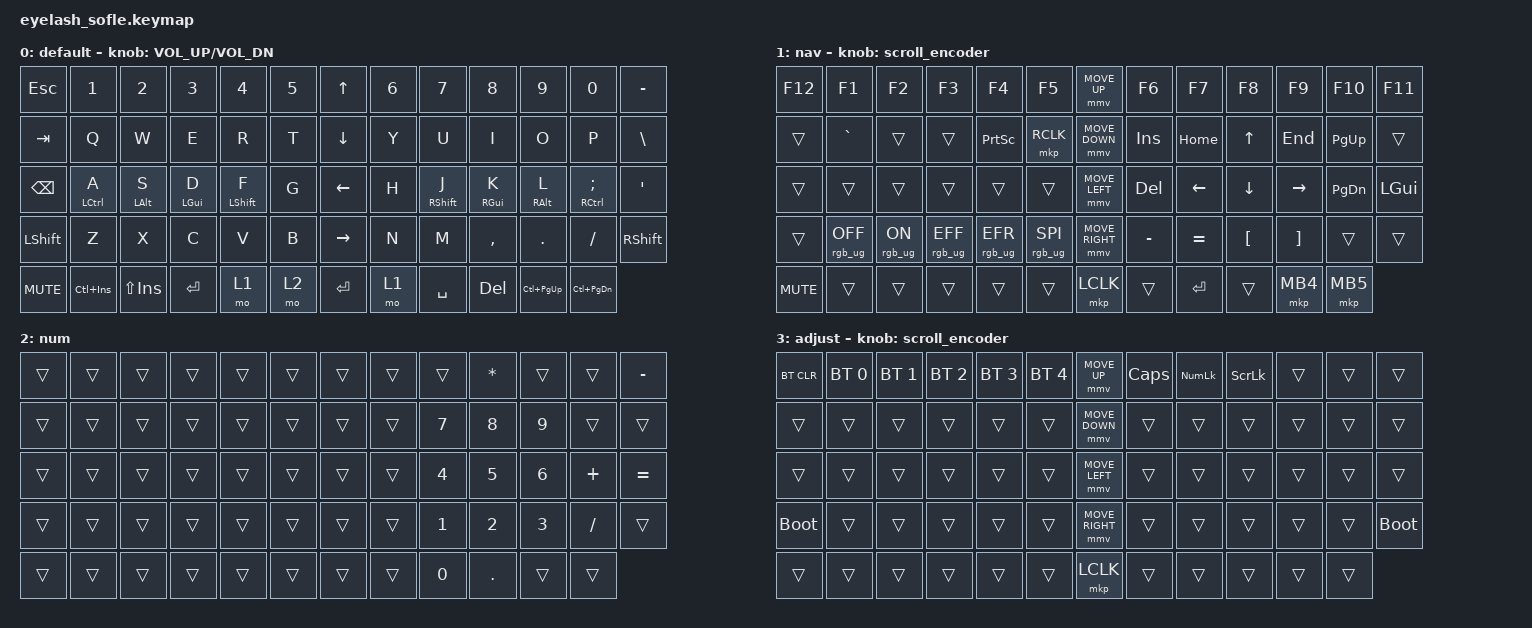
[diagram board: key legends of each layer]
#define ZMK_POINTING_DEFAULT_MOVE_VAL 1200  // 600
#define ZMK_POINTING_DEFAULT_SCRL_VAL 25   // 10

#include <input/processors.dtsi>
#include <zephyr/dt-bindings/input/input-event-codes.h>
#include <behaviors.dtsi>
#include <dt-bindings/zmk/bt.h>
#include <dt-bindings/zmk/keys.h>
#include <dt-bindings/zmk/pointing.h>
#include <dt-bindings/zmk/rgb.h>

&mmv_input_listener { input-processors = <&zip_xy_scaler 2 1>; };

&msc_input_listener { input-processors = <&zip_scroll_scaler 2 1>; };

&msc {
    acceleration-exponent = <1>;      // 0
    time-to-max-speed-ms = <100>;       // 300
    delay-ms = <0>;                   // 0
};

&mmv {
    time-to-max-speed-ms = <500>;
    acceleration-exponent = <1>;
    trigger-period-ms = <16>;
};

/ {
    conditional_layers {
        compatible = "zmk,conditional-layers";

        adjust_layer {
            if-layers = <1 2>;
            then-layer = <3>;
        };
    };

    behaviors {
        tpmt: tpmt {
            compatible = "zmk,behavior-hold-tap";
            label = "TPMT";
            bindings = <&kp>, <&kp>;

            #binding-cells = <2>;
            tapping-term-ms = <200>;
            quick-tap-ms = <125>;
            require-prior-idle-ms = <125>;
            flavor = "tap-preferred";
        };
    };

    scroll_encoder: scroll_encoder {
        compatible = "zmk,behavior-sensor-rotate";
        #sensor-binding-cells = <0>;
        bindings = <&msc SCRL_DOWN>, <&msc SCRL_UP>;

        tap-ms = <100>;
    };

    keymap {
        compatible = "zmk,keymap";

        default {
            bindings = <
&kp ESC        &kp N1          &kp N2            &kp N3        &kp N4          &kp N5    &kp UP_ARROW     &kp N6  &kp N7               &kp N8        &kp N9             &kp N0                         &kp MINUS
&kp TAB        &kp Q           &kp W             &kp E         &kp R           &kp T     &kp DOWN_ARROW   &kp Y   &kp U                &kp I         &kp O              &kp P                          &kp BSLH
&kp BACKSPACE  &tpmt LCTRL A   &tpmt LEFT_ALT S  &tpmt LGUI D  &tpmt LSHIFT F  &kp G     &kp LEFT_ARROW   &kp H   &tpmt RIGHT_SHIFT J  &tpmt RGUI K  &tpmt RIGHT_ALT L  &tpmt RIGHT_CONTROL SEMICOLON  &kp APOS
&kp LSHFT      &kp Z           &kp X             &kp C         &kp V           &kp B     &kp RIGHT_ARROW  &kp N   &kp M                &kp COMMA     &kp DOT            &kp FSLH                       &kp RIGHT_SHIFT
&kp C_MUTE     &kp LC(INSERT)  &kp LS(INSERT)    &kp ENTER     &mo 1           &mo 2     &kp ENTER        &mo 1   &kp SPACE            &kp DELETE    &kp LC(PG_UP)      &kp LC(PG_DN)
            >;

            sensor-bindings = <&inc_dec_kp C_VOLUME_UP C_VOL_DN>;
            display-name = "default";
            label = "default";
        };

        nav {
            bindings = <
&kp F12     &kp F1           &kp F2          &kp F3           &kp F4           &kp F5             &mmv MOVE_UP     &kp F6      &kp F7     &kp F8            &kp F9             &kp F10    &kp F11
&trans      &kp GRAVE        &trans          &trans           &kp PRINTSCREEN  &mkp RCLK          &mmv MOVE_DOWN   &kp INSERT  &kp HOME   &kp UP            &kp END            &kp PG_UP  &trans
&trans      &trans           &trans          &trans           &trans           &trans             &mmv MOVE_LEFT   &kp DELETE  &kp LEFT   &kp DOWN          &kp RIGHT          &kp PG_DN  &kp LGUI
&trans      &rgb_ug RGB_OFF  &rgb_ug RGB_ON  &rgb_ug RGB_EFF  &rgb_ug RGB_EFR  &rgb_ug RGB_SPI    &mmv MOVE_RIGHT  &kp MINUS   &kp EQUAL  &kp LEFT_BRACKET  &kp RIGHT_BRACKET  &trans     &trans
&kp C_MUTE  &trans           &trans          &trans           &trans           &trans             &mkp LCLK        &trans      &kp ENTER  &trans            &mkp MB4           &mkp MB5
            >;

            display-name = "nav";
            sensor-bindings = <&scroll_encoder>;
        };

        num {
            bindings = <
&trans  &trans  &trans  &trans  &trans  &trans    &trans  &trans  &trans  &kp ASTERISK  &trans  &trans     &kp MINUS
&trans  &trans  &trans  &trans  &trans  &trans    &trans  &trans  &kp N7  &kp N8        &kp N9  &trans     &trans
&trans  &trans  &trans  &trans  &trans  &trans    &trans  &trans  &kp N4  &kp N5        &kp N6  &kp PLUS   &kp EQUAL
&trans  &trans  &trans  &trans  &trans  &trans    &trans  &trans  &kp N1  &kp N2        &kp N3  &kp SLASH  &trans
&trans  &trans  &trans  &trans  &trans  &trans    &trans  &trans  &kp N0  &kp DOT       &trans  &trans
            >;

            label = "num";
        };

        adjust {
            bindings = <
&bt BT_CLR   &bt BT_SEL 0  &bt BT_SEL 1  &bt BT_SEL 2  &bt BT_SEL 3  &bt BT_SEL 4    &mmv MOVE_UP     &kp CAPS  &kp KP_NUMLOCK  &kp SCROLLLOCK  &trans  &trans  &trans
&trans       &trans        &trans        &trans        &trans        &trans          &mmv MOVE_DOWN   &trans    &trans          &trans          &trans  &trans  &trans
&trans       &trans        &trans        &trans        &trans        &trans          &mmv MOVE_LEFT   &trans    &trans          &trans          &trans  &trans  &trans
&bootloader  &trans        &trans        &trans        &trans        &trans          &mmv MOVE_RIGHT  &trans    &trans          &trans          &trans  &trans  &bootloader
&trans       &trans        &trans        &trans        &trans        &trans          &mkp LCLK        &trans    &trans          &trans          &trans  &trans
            >;

            sensor-bindings = <&scroll_encoder>;
            label = "adjust";
        };
    };
};
